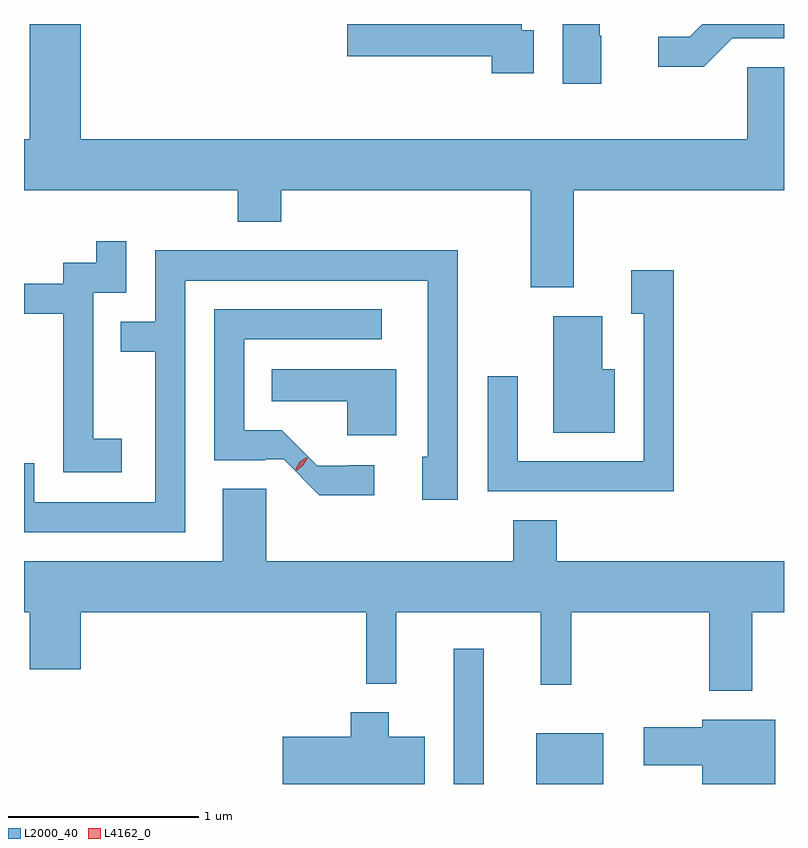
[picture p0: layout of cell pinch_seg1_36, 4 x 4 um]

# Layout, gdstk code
import gdstk
lib = gdstk.Library(unit=1e-6, precision=1e-09)
def R(c, l, rs):  # rectangles x0, y0, x1, y1
    for r in rs: c.add(gdstk.rectangle(r[:2], r[2:], *l))
def P(c, l, *ps):  # polygons
    for p in ps: c.add(gdstk.Polygon(p, *l))
L2000_40 = (2000, 40)
L4162_0 = (4162, 0)

pinch_seg1_36 = lib.new_cell('pinch_seg1_36')
R(pinch_seg1_36, L2000_40, [(1396.126,867.591,1396.284,868.303), (1396.561,867.591,1396.914,867.859)])
P(pinch_seg1_36, L2000_40, [(1396.904,871.53),(1396.894,871.53),(1396.894,871.591),(1396.701,871.591),(1396.701,871.276),(1396.904,871.276)],
  [(1396.759,870.716),(1397.865,870.716),(1397.865,871.364),(1397.671,871.364),(1397.671,870.984),(1394.164,870.984),(1394.164,871.591),(1393.896,871.591),(1393.896,870.984),(1393.865,870.984),(1393.865,870.716),(1394.991,870.716),(1394.991,870.551),(1395.219,870.551),(1395.219,870.716),(1396.531,870.716),(1396.531,870.206),(1396.759,870.206)],
  [(1397.592,871.516),(1397.865,871.516),(1397.865,871.591),(1397.436,871.591),(1397.369,871.524),(1397.203,871.524),(1397.203,871.366),(1397.442,871.366)],
  [(1396.549,871.559),(1396.484,871.559),(1396.484,871.591),(1395.566,871.591),(1395.566,871.421),(1396.326,871.421),(1396.326,871.331),(1396.549,871.331)],
  [(1394.379,869.409),(1394.229,869.409),(1394.229,870.176),(1394.404,870.176),(1394.404,870.448),(1394.246,870.448),(1394.246,870.334),(1394.071,870.334),(1394.071,870.224),(1393.865,870.224),(1393.865,870.066),(1394.071,870.066),(1394.071,869.231),(1394.379,869.231)],
  [(1394.714,870.241),(1395.991,870.241),(1395.991,869.314),(1395.961,869.314),(1395.961,869.086),(1396.149,869.086),(1396.149,870.399),(1394.556,870.399),(1394.556,870.024),(1394.373,870.024),(1394.373,869.866),(1394.556,869.866),(1394.556,869.074),(1393.919,869.074),(1393.919,869.279),(1393.865,869.279),(1393.865,868.916),(1394.714,868.916)],
  [(1397.284,870.294),(1397.061,870.294),(1397.061,870.066),(1397.126,870.066),(1397.126,869.289),(1396.464,869.289),(1396.464,869.738),(1396.306,869.738),(1396.306,869.131),(1397.284,869.131)],
  [(1395.708,869.269),(1395.57,869.269),(1395.57,869.266),(1395.409,869.266),(1395.221,869.454),(1395.024,869.454),(1395.024,869.931),(1395.748,869.931),(1395.748,870.089),(1394.866,870.089),(1394.866,869.296),(1395.135,869.296),(1395.135,869.299),(1395.231,869.299),(1395.419,869.111),(1395.708,869.111)],
  [(1396.974,869.774),(1396.909,869.774),(1396.909,870.054),(1396.651,870.054),(1396.651,869.441),(1396.974,869.441)],
  [(1395.824,869.774),(1395.168,869.774),(1395.168,869.606),(1395.566,869.606),(1395.566,869.426),(1395.824,869.426)],
  [(1397.699,868.496),(1397.865,868.496),(1397.865,868.764),(1396.669,868.764),(1396.669,868.979),(1396.441,868.979),(1396.441,868.764),(1395.139,868.764),(1395.139,869.144),(1394.911,869.144),(1394.911,868.764),(1393.865,868.764),(1393.865,868.496),(1393.896,868.496),(1393.896,868.196),(1394.164,868.196),(1394.164,868.496),(1395.666,868.496),(1395.666,868.118),(1395.824,868.118),(1395.824,868.496),(1396.586,868.496),(1396.586,868.113),(1396.744,868.113),(1396.744,868.496),(1397.471,868.496),(1397.471,868.081),(1397.699,868.081)],
  [(1395.974,867.839),(1395.784,867.839),(1395.784,867.969),(1395.586,867.969),(1395.586,867.839),(1395.226,867.839),(1395.226,867.591),(1395.974,867.591)],
  [(1397.819,867.929),(1397.436,867.929),(1397.436,867.889),(1397.126,867.889),(1397.126,867.691),(1397.436,867.691),(1397.436,867.591),(1397.819,867.591)])
P(pinch_seg1_36, L4162_0, [(1395.294,869.237),(1395.294,869.238),(1395.321,869.281),(1395.362,869.312),(1395.362,869.312),(1395.362,869.311),(1395.336,869.268),(1395.295,869.237)],
  [(1395.292,869.245),(1395.292,869.246),(1395.316,869.286),(1395.354,869.312),(1395.354,869.312),(1395.354,869.311),(1395.331,869.272),(1395.293,869.245)])

lib.write_gds('pinch_seg1_36.gds')
